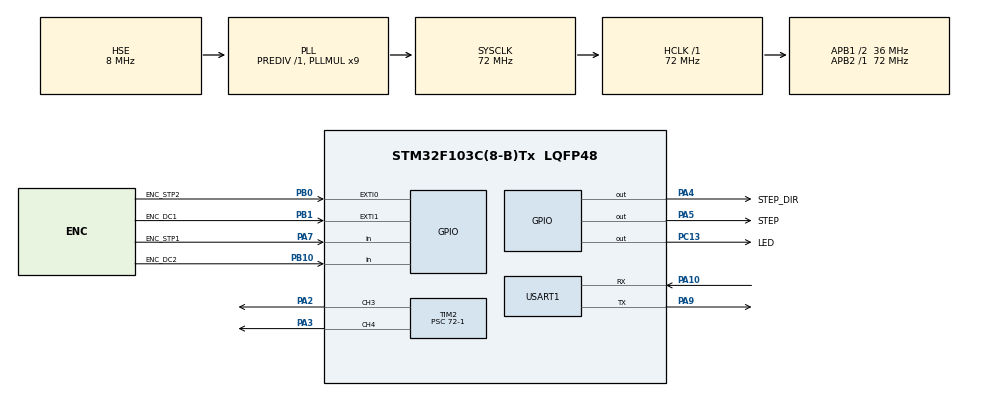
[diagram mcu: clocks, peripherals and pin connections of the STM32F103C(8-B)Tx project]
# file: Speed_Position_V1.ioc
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FREERTOS.Tasks01=Task_speed,0,128,Start_task_speed,Default,NULL,Dynamic,NULL,NULL;Task_pos,0,128,Start_task_pos,Default,NULL,Dynamic,NULL,NULL
Mcu.Family=STM32F1
Mcu.Name=STM32F103C(8-B)Tx
Mcu.Package=LQFP48
NVIC.EXTI0_IRQn=true\:5\:0\:false\:false\:true\:true\:true\:true\:true
NVIC.EXTI1_IRQn=true\:5\:0\:false\:false\:true\:true\:true\:true\:true
NVIC.PriorityGroup=NVIC_PRIORITYGROUP_4
NVIC.TIM3_IRQn=true\:5\:0\:false\:false\:true\:true\:true\:true\:true
NVIC.TIM4_IRQn=true\:15\:0\:false\:false\:true\:false\:false\:true\:true
NVIC.TimeBase=TIM4_IRQn
NVIC.TimeBaseIP=TIM4
NVIC.USART1_IRQn=true\:5\:0\:false\:false\:true\:true\:true\:true\:true
PA10.Mode=Asynchronous
PA10.Signal=USART1_RX
PA13.Mode=Serial_Wire
PA13.Signal=SYS_JTMS-SWDIO
PA14.Mode=Serial_Wire
PA14.Signal=SYS_JTCK-SWCLK
PA2.Signal=S_TIM2_CH3
PA3.Signal=S_TIM2_CH4
PA4.GPIO_Label=STEP_DIR
PA4.Signal=GPIO_Output
PA5.GPIO_Label=STEP
PA5.Signal=GPIO_Output
PA7.GPIO_Label=ENC_STP1
PA7.GPIO_PuPd=GPIO_PULLUP
PA7.Signal=GPIO_Input
PA9.Mode=Asynchronous
PA9.Signal=USART1_TX
PB0.GPIO_Label=ENC_STP2
PB0.GPIO_PuPd=GPIO_PULLUP
PB0.Signal=GPXTI0
PB1.GPIO_Label=ENC_DC1
PB1.GPIO_PuPd=GPIO_PULLUP
PB1.Signal=GPXTI1
PB10.GPIO_Label=ENC_DC2
PB10.GPIO_PuPd=GPIO_PULLUP
PB10.Signal=GPIO_Input
PC13-TAMPER-RTC.GPIO_Label=LED
PC13-TAMPER-RTC.Signal=GPIO_Output
PD0-OSC_IN.Mode=HSE-External-Oscillator
PD0-OSC_IN.Signal=RCC_OSC_IN
PD1-OSC_OUT.Mode=HSE-External-Oscillator
PD1-OSC_OUT.Signal=RCC_OSC_OUT
ProjectManager.HeapSize=0x200
ProjectManager.StackSize=0x400
ProjectManager.TargetToolchain=STM32CubeIDE
RCC.AHBFreq_Value=72000000
RCC.APB1CLKDivider=RCC_HCLK_DIV2
RCC.APB1Freq_Value=36000000
RCC.APB1TimFreq_Value=72000000
RCC.APB2Freq_Value=72000000
RCC.APB2TimFreq_Value=72000000
RCC.HCLKFreq_Value=72000000
RCC.PLLMUL=RCC_PLL_MUL9
RCC.PLLSourceVirtual=RCC_PLLSOURCE_HSE
RCC.SYSCLKFreq_VALUE=72000000
RCC.SYSCLKSource=RCC_SYSCLKSOURCE_PLLCLK
RCC.USBFreq_Value=72000000
SH.S_TIM2_CH3.0=TIM2_CH3,PWM Generation3 CH3
SH.S_TIM2_CH4.0=TIM2_CH4,PWM Generation4 CH4
TIM2.Channel-PWM\ Generation3\ CH3=TIM_CHANNEL_3
TIM2.Channel-PWM\ Generation4\ CH4=TIM_CHANNEL_4
TIM2.Period=100-1
TIM2.Prescaler=72-1
TIM3.Period=2000-1
TIM3.Prescaler=72-1
USART1.VirtualMode=VM_ASYNC
VP_FREERTOS_VS_CMSIS_V1.Mode=CMSIS_V1
VP_SYS_VS_tim4.Mode=TIM4
VP_TIM2_VS_ClockSourceINT.Mode=Internal
VP_TIM3_VS_ClockSourceINT.Mode=Internal
board=custom

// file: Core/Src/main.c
/* USER CODE BEGIN Header */
/**
  ******************************************************************************
  * @file           : main.c
  * @brief          : Main program body
  ******************************************************************************
  * @attention
  *
  * Copyright (c) 2023 STMicroelectronics.
  * All rights reserved.
  *
  * This software is licensed under terms that can be found in the LICENSE file
  * in the root directory of this software component.
  * If no LICENSE file comes with this software, it is provided AS-IS.
  *
  ******************************************************************************
  */
/* USER CODE END Header */
#include "main.h"
#include "cmsis_os.h"

/* USER CODE BEGIN Includes */
#include <stdlib.h>
//SPEED_DC_MOTOR:
volatile int  count1;
long counter1;
long pos1 ;
float N = 100;
long precount;
float veloc;
float v1;
float v1Filt;
float v1Prev;
int vt = 500;
float e1 ;
float ei1;
int u1;
float kp1 = 1;
float ki1 = 0.5;
int dir;
int pwr;

float vshow;
uint8_t data_RX[10];
char c;

//POS_STEP_MOTOR:
int u2;
int e2;
int pre_e2;
float ei2;
float ed2;
int t = 200;
float kp2 = 1,ki2 = 0.005,kd2 = 0;
int count2;
long counter2;

/* USER CODE END Includes */

TIM_HandleTypeDef htim2;
TIM_HandleTypeDef htim3;

UART_HandleTypeDef huart1;

osThreadId Task_speedHandle;
osThreadId Task_posHandle;

void SystemClock_Config(void);
static void MX_GPIO_Init(void);
static void MX_TIM2_Init(void);
static void MX_TIM3_Init(void);
static void MX_USART1_UART_Init(void);
void Start_task_speed(void const * argument);
void Start_task_pos(void const * argument);

int main(void)
{

  /* MCU Configuration--------------------------------------------------------*/

  /* Reset of all peripherals, Initializes the Flash interface and the Systick. */
  HAL_Init();

  /* Configure the system clock */
  SystemClock_Config();

  /* Initialize all configured peripherals */
  MX_GPIO_Init();
  MX_TIM2_Init();
  MX_TIM3_Init();
  MX_USART1_UART_Init();
  /* USER CODE BEGIN 2 */
  HAL_TIM_PWM_Start(&htim2,TIM_CHANNEL_3);
  HAL_TIM_PWM_Start(&htim2,TIM_CHANNEL_4);
  HAL_TIM_Base_Start_IT(&htim3);
  HAL_UART_Receive_IT(&huart1, data_RX, 1);
  /* USER CODE END 2 */

  /* Create the thread(s) */
  /* definition and creation of Task_speed */
  osThreadDef(Task_speed, Start_task_speed, osPriorityNormal, 0, 128);
  Task_speedHandle = osThreadCreate(osThread(Task_speed), NULL);

  /* definition and creation of Task_pos */
  osThreadDef(Task_pos, Start_task_pos, osPriorityNormal, 0, 128);
  Task_posHandle = osThreadCreate(osThread(Task_pos), NULL);

  /* Start scheduler */
  osKernelStart();

  /* We should never get here as control is now taken by the scheduler */
  /* Infinite loop */
  while (1)
  {

  }
}

void SystemClock_Config(void)
{
  RCC_OscInitTypeDef RCC_OscInitStruct = {0};
  RCC_ClkInitTypeDef RCC_ClkInitStruct = {0};

  /** Initializes the RCC Oscillators according to the specified parameters
  * in the RCC_OscInitTypeDef structure.
  */
  RCC_OscInitStruct.OscillatorType = RCC_OSCILLATORTYPE_HSE;
  RCC_OscInitStruct.HSEState = RCC_HSE_ON;
  RCC_OscInitStruct.HSEPredivValue = RCC_HSE_PREDIV_DIV1;
  RCC_OscInitStruct.HSIState = RCC_HSI_ON;
  RCC_OscInitStruct.PLL.PLLState = RCC_PLL_ON;
  RCC_OscInitStruct.PLL.PLLSource = RCC_PLLSOURCE_HSE;
  RCC_OscInitStruct.PLL.PLLMUL = RCC_PLL_MUL9;
  if (HAL_RCC_OscConfig(&RCC_OscInitStruct) != HAL_OK)
  {
    Error_Handler();
  }

  /** Initializes the CPU, AHB and APB buses clocks
  */
  RCC_ClkInitStruct.ClockType = RCC_CLOCKTYPE_HCLK|RCC_CLOCKTYPE_SYSCLK
                              |RCC_CLOCKTYPE_PCLK1|RCC_CLOCKTYPE_PCLK2;
  RCC_ClkInitStruct.SYSCLKSource = RCC_SYSCLKSOURCE_PLLCLK;
  RCC_ClkInitStruct.AHBCLKDivider = RCC_SYSCLK_DIV1;
  RCC_ClkInitStruct.APB1CLKDivider = RCC_HCLK_DIV2;
  RCC_ClkInitStruct.APB2CLKDivider = RCC_HCLK_DIV1;

  if (HAL_RCC_ClockConfig(&RCC_ClkInitStruct, FLASH_LATENCY_2) != HAL_OK)
  {
    Error_Handler();
  }
}

static void MX_TIM2_Init(void)
{

  TIM_ClockConfigTypeDef sClockSourceConfig = {0};
  TIM_MasterConfigTypeDef sMasterConfig = {0};
  TIM_OC_InitTypeDef sConfigOC = {0};

  htim2.Instance = TIM2;
  htim2.Init.Prescaler = 72-1;
  htim2.Init.CounterMode = TIM_COUNTERMODE_UP;
  htim2.Init.Period = 1000-1;
  htim2.Init.ClockDivision = TIM_CLOCKDIVISION_DIV1;
  htim2.Init.AutoReloadPreload = TIM_AUTORELOAD_PRELOAD_DISABLE;
  if (HAL_TIM_Base_Init(&htim2) != HAL_OK)
  {
    Error_Handler();
  }
  sClockSourceConfig.ClockSource = TIM_CLOCKSOURCE_INTERNAL;
  if (HAL_TIM_ConfigClockSource(&htim2, &sClockSourceConfig) != HAL_OK)
  {
    Error_Handler();
  }
  if (HAL_TIM_PWM_Init(&htim2) != HAL_OK)
  {
    Error_Handler();
  }
  sMasterConfig.MasterOutputTrigger = TIM_TRGO_RESET;
  sMasterConfig.MasterSlaveMode = TIM_MASTERSLAVEMODE_DISABLE;
  if (HAL_TIMEx_MasterConfigSynchronization(&htim2, &sMasterConfig) != HAL_OK)
  {
    Error_Handler();
  }
  sConfigOC.OCMode = TIM_OCMODE_PWM1;
  sConfigOC.Pulse = 0;
  sConfigOC.OCPolarity = TIM_OCPOLARITY_HIGH;
  sConfigOC.OCFastMode = TIM_OCFAST_DISABLE;
  if (HAL_TIM_PWM_ConfigChannel(&htim2, &sConfigOC, TIM_CHANNEL_3) != HAL_OK)
  {
    Error_Handler();
  }
  if (HAL_TIM_PWM_ConfigChannel(&htim2, &sConfigOC, TIM_CHANNEL_4) != HAL_OK)
  {
    Error_Handler();
  }
  HAL_TIM_MspPostInit(&htim2);

}

static void MX_TIM3_Init(void)
{

  TIM_ClockConfigTypeDef sClockSourceConfig = {0};
  TIM_MasterConfigTypeDef sMasterConfig = {0};

  htim3.Instance = TIM3;
  htim3.Init.Prescaler = 72-1;
  htim3.Init.CounterMode = TIM_COUNTERMODE_UP;
  htim3.Init.Period = 1000-1;
  htim3.Init.ClockDivision = TIM_CLOCKDIVISION_DIV1;
  htim3.Init.AutoReloadPreload = TIM_AUTORELOAD_PRELOAD_DISABLE;
  if (HAL_TIM_Base_Init(&htim3) != HAL_OK)
  {
    Error_Handler();
  }
  sClockSourceConfig.ClockSource = TIM_CLOCKSOURCE_INTERNAL;
  if (HAL_TIM_ConfigClockSource(&htim3, &sClockSourceConfig) != HAL_OK)
  {
    Error_Handler();
  }
  sMasterConfig.MasterOutputTrigger = TIM_TRGO_RESET;
  sMasterConfig.MasterSlaveMode = TIM_MASTERSLAVEMODE_DISABLE;
  if (HAL_TIMEx_MasterConfigSynchronization(&htim3, &sMasterConfig) != HAL_OK)
  {
    Error_Handler();
  }

}

static void MX_USART1_UART_Init(void)
{

  huart1.Instance = USART1;
  huart1.Init.BaudRate = 115200;
  huart1.Init.WordLength = UART_WORDLENGTH_8B;
  huart1.Init.StopBits = UART_STOPBITS_1;
  huart1.Init.Parity = UART_PARITY_NONE;
  huart1.Init.Mode = UART_MODE_TX_RX;
  huart1.Init.HwFlowCtl = UART_HWCONTROL_NONE;
  huart1.Init.OverSampling = UART_OVERSAMPLING_16;
  if (HAL_UART_Init(&huart1) != HAL_OK)
  {
    Error_Handler();
  }

}

static void MX_GPIO_Init(void)
{
  GPIO_InitTypeDef GPIO_InitStruct = {0};

  /* GPIO Ports Clock Enable */
  __HAL_RCC_GPIOC_CLK_ENABLE();
  __HAL_RCC_GPIOD_CLK_ENABLE();
  __HAL_RCC_GPIOA_CLK_ENABLE();
  __HAL_RCC_GPIOB_CLK_ENABLE();

  /*Configure GPIO pin Output Level */
  HAL_GPIO_WritePin(LED_GPIO_Port, LED_Pin, GPIO_PIN_RESET);

  /*Configure GPIO pin Output Level */
  HAL_GPIO_WritePin(GPIOA, STEP_DIR_Pin|STEP_Pin, GPIO_PIN_RESET);

  /*Configure GPIO pin : LED_Pin */
  GPIO_InitStruct.Pin = LED_Pin;
  GPIO_InitStruct.Mode = GPIO_MODE_OUTPUT_PP;
  GPIO_InitStruct.Pull = GPIO_NOPULL;
  GPIO_InitStruct.Speed = GPIO_SPEED_FREQ_LOW;
  HAL_GPIO_Init(LED_GPIO_Port, &GPIO_InitStruct);

  /*Configure GPIO pins : STEP_DIR_Pin STEP_Pin */
  GPIO_InitStruct.Pin = STEP_DIR_Pin|STEP_Pin;
  GPIO_InitStruct.Mode = GPIO_MODE_OUTPUT_PP;
  GPIO_InitStruct.Pull = GPIO_NOPULL;
  GPIO_InitStruct.Speed = GPIO_SPEED_FREQ_LOW;
  HAL_GPIO_Init(GPIOA, &GPIO_InitStruct);

  /*Configure GPIO pin : ENC_STP1_Pin */
  GPIO_InitStruct.Pin = ENC_STP1_Pin;
  GPIO_InitStruct.Mode = GPIO_MODE_INPUT;
  GPIO_InitStruct.Pull = GPIO_PULLUP;
  HAL_GPIO_Init(ENC_STP1_GPIO_Port, &GPIO_InitStruct);

  /*Configure GPIO pins : ENC_STP2_Pin ENC_DC1_Pin */
  GPIO_InitStruct.Pin = ENC_STP2_Pin|ENC_DC1_Pin;
  GPIO_InitStruct.Mode = GPIO_MODE_IT_RISING;
  GPIO_InitStruct.Pull = GPIO_PULLUP;
  HAL_GPIO_Init(GPIOB, &GPIO_InitStruct);

  /*Configure GPIO pin : ENC_DC2_Pin */
  GPIO_InitStruct.Pin = ENC_DC2_Pin;
  GPIO_InitStruct.Mode = GPIO_MODE_INPUT;
  GPIO_InitStruct.Pull = GPIO_PULLUP;
  HAL_GPIO_Init(ENC_DC2_GPIO_Port, &GPIO_InitStruct);

  /* EXTI interrupt init*/
  HAL_NVIC_SetPriority(EXTI0_IRQn, 5, 0);
  HAL_NVIC_EnableIRQ(EXTI0_IRQn);

  HAL_NVIC_SetPriority(EXTI1_IRQn, 5, 0);
  HAL_NVIC_EnableIRQ(EXTI1_IRQn);

}

/* USER CODE BEGIN 4 */
void HAL_UART_RxCpltCallback(UART_HandleTypeDef *huart)
{
	HAL_UART_Receive_IT(&huart1, data_RX, 1);
}

void drivePosition(){

	//DIR for STEP_POS
	if (u2>0){
		HAL_GPIO_WritePin(STEP_DIR_GPIO_Port, STEP_DIR_Pin, 0);
	}
	else if (u2<0){
		HAL_GPIO_WritePin(STEP_DIR_GPIO_Port, STEP_DIR_Pin, 1);
	}

	//PWM for STEP_POS
	if(u2!=0){
		HAL_GPIO_WritePin(STEP_GPIO_Port, STEP_Pin, 1);
		osDelay(1);
		HAL_GPIO_WritePin(STEP_GPIO_Port, STEP_Pin, 0);
		osDelay(1);
	}
	else{
		HAL_GPIO_WritePin(STEP_GPIO_Port, STEP_Pin, 0);
		osDelay(1);
		HAL_GPIO_WritePin(STEP_GPIO_Port, STEP_Pin, 0);
		osDelay(1);
	}
}

void HAL_GPIO_EXTI_Callback(uint16_t GPIO_Pin)
{
	//Encoder DC-SPEED
	if (GPIO_Pin == ENC_DC1_Pin){
		if (HAL_GPIO_ReadPin(ENC_DC2_GPIO_Port,ENC_DC2_Pin) == 0) count1++;
		else count1--;
	}
	//if (count1 > 99 || count1 < -99) count1 = 0;

	//Encoder STEP-POSITION
	if (GPIO_Pin == ENC_STP2_Pin){
		if (HAL_GPIO_ReadPin(ENC_STP1_GPIO_Port,ENC_STP1_Pin) == 0) count2++;
		else count2--;
	}
}

void driveSpeed(int dir , int pwmVal){
	if (dir == -1){
		__HAL_TIM_SET_COMPARE(&htim2, TIM_CHANNEL_3, pwmVal);
		__HAL_TIM_SET_COMPARE(&htim2, TIM_CHANNEL_4, 0);
	}
	else if (dir == 1){
		__HAL_TIM_SET_COMPARE(&htim2, TIM_CHANNEL_3, 0);
		__HAL_TIM_SET_COMPARE(&htim2, TIM_CHANNEL_4, pwmVal);
	}
	else{
		__HAL_TIM_SET_COMPARE(&htim2, TIM_CHANNEL_3, 0);
		__HAL_TIM_SET_COMPARE(&htim2, TIM_CHANNEL_4, 0);
	}
}

void calculatePIDSpeed ()
{

	//PID algorithm for DC-SPEED
	e1 = vt - v1Filt;
	ei1 += e1 * 0.001;
	u1 = kp1 * e1 + ki1 * ei1;

	if(u1 < 0) dir = 1;
	else dir = -1;
	pwr = abs(u1);
//	if (ei1>100){
//		ei1 = 100;
//	}
	if(pwr > 1000) pwr = 1000;
}

void calculatePIDPosition ()
{

	e2 = t - counter2;
	ei2 += e2*0.001;
	ed2 = (e2-pre_e2)/0.001;
	if (ei2>0.09){
		ei2 = 0.09;
	}else if (ei2<-0.09) ei2=-0.09;
	u2 = kp2*e2 + ki2*ei2 + kd2*ed2;
	pre_e2 = e2;

}
/* USER CODE END 4 */

void Start_task_speed(void const * argument)
{
  /* USER CODE BEGIN 5 */
  /* Infinite loop */
  for(;;)
  {
	  calculatePIDSpeed();
	  driveSpeed(-dir, pwr);
	  osDelay(1);
  }
  /* USER CODE END 5 */
}

/* USER CODE BEGIN Header_Start_task_pos */
/**
* @brief Function implementing the Task_pos thread.
* @param argument: Not used
* @retval None
*/
int i;
/* USER CODE END Header_Start_task_pos */
void Start_task_pos(void const * argument)
{
  /* USER CODE BEGIN Start_task_pos */
  /* Infinite loop */
  for(;;)
  {
//	  HAL_GPIO_WritePin(STEP_GPIO_Port, STEP_Pin, 0);
//	  osDelay(1);
//	  HAL_GPIO_WritePin(STEP_GPIO_Port, STEP_Pin, 1);
//	  osDelay(1);
//	  i++;
	  calculatePIDPosition();
	  drivePosition();
//	  while(i == 100){
//		  osDelay(1);
//	  }
//	  osDelay(1);
  }
  /* USER CODE END Start_task_pos */
}

float v1real,v1Filtreal,v1Prevreal,velocreal;
void HAL_TIM_PeriodElapsedCallback(TIM_HandleTypeDef *htim)
{
	if (htim->Instance == TIM4) {
		HAL_IncTick();
	}
  /* USER CODE BEGIN Callback 1 */

	//Calculate speed - update counter1 for speed PID in deltaT = 1ms
	counter1 = count1;
	pos1 = counter1 - precount;
//	if (dir == -1 && pos1 < -50) pos1 += N;
//	if (dir == 1 && pos1 > 50) pos1 -= N;
	veloc = pos1 / 0.001;
	velocreal = pos1/0.001;

	v1 = (veloc / (500)) * 60;
	v1real = velocreal / (100) * 60;
	v1Filt = 0.854 * v1Filt + 0.0728 * v1 + 0.0728 * v1Prev;
	v1Filtreal = 0.854*v1Filtreal + 0.0728*v1real+0.0728*v1Prevreal;
	v1Prev = v1;
	v1Prevreal = v1real;
	precount = counter1;

	//Calculate position - update counter2 for position PID in deltaT = 1ms
	counter2 = count2;

  /* USER CODE END Callback 1 */
}

void Error_Handler(void)
{
  __disable_irq();
  while (1)
  {
  }
}
